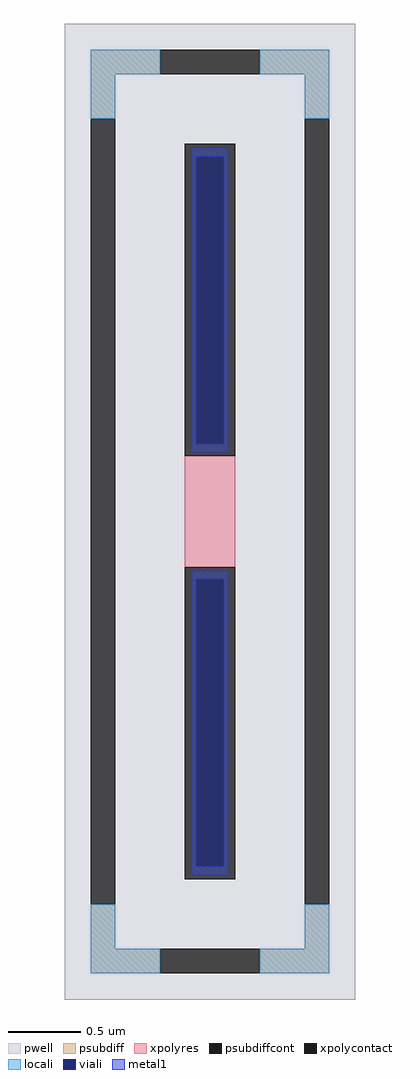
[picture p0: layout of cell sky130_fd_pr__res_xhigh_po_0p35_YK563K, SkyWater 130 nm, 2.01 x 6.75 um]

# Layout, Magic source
magic
tech sky130A
magscale 1 2
<< pwell >>
rect -201 -675 201 675
<< psubdiff >>
rect -165 605 -69 639
rect 69 605 165 639
rect -165 543 -131 605
rect 131 543 165 605
rect -165 -605 -131 -543
rect 131 -605 165 -543
rect -165 -639 -69 -605
rect 69 -639 165 -605
<< psubdiffcont >>
rect -69 605 69 639
rect -165 -543 -131 543
rect 131 -543 165 543
rect -69 -639 69 -605
<< xpolycontact >>
rect -35 77 35 509
rect -35 -509 35 -77
<< xpolyres >>
rect -35 -77 35 77
<< locali >>
rect -165 605 -69 639
rect 69 605 165 639
rect -165 543 -131 605
rect 131 543 165 605
rect -165 -605 -131 -543
rect 131 -605 165 -543
rect -165 -639 -69 -605
rect 69 -639 165 -605
<< viali >>
rect -19 94 19 491
rect -19 -491 19 -94
<< metal1 >>
rect -25 491 25 503
rect -25 94 -19 491
rect 19 94 25 491
rect -25 82 25 94
rect -25 -94 25 -82
rect -25 -491 -19 -94
rect 19 -491 25 -94
rect -25 -503 25 -491
<< properties >>
string FIXED_BBOX -148 -622 148 622
string gencell sky130_fd_pr__res_xhigh_po_0p35
string library sky130
string parameters w 0.350 l 0.93 m 1 nx 1 wmin 0.350 lmin 0.50 rho 2000 val 6.389k dummy 0 dw 0.0 term 188.2 sterm 0.0 caplen 0 wmax 0.350 guard 1 glc 1 grc 1 gtc 1 gbc 1 compatible {sky130_fd_pr__res_xhigh_po_0p35  sky130_fd_pr__res_xhigh_po_0p69 sky130_fd_pr__res_xhigh_po_1p41  sky130_fd_pr__res_xhigh_po_2p85 sky130_fd_pr__res_xhigh_po_5p73} snake 0 full_metal 1 n_guard 0 hv_guard 0 vias 1 viagb 0 viagt 0 viagl 0 viagr 0
<< end >>
